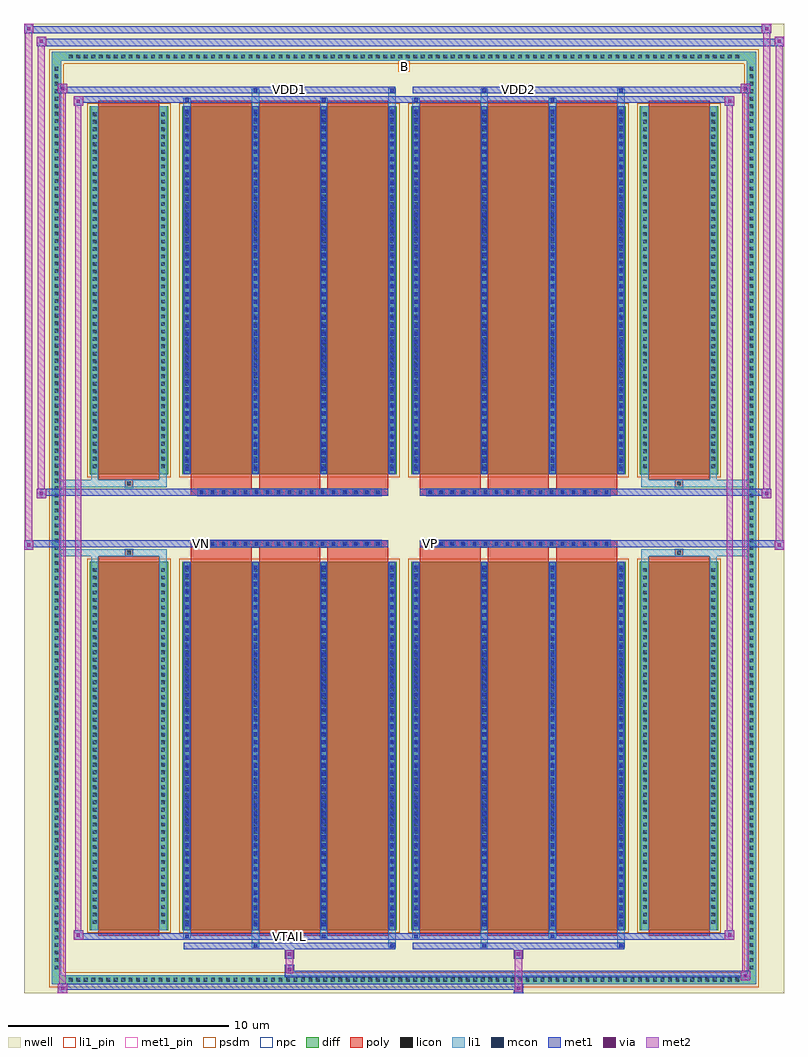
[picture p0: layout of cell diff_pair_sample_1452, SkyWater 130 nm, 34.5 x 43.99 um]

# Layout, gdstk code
import gdstk
lib = gdstk.Library(unit=1e-6, precision=5e-09)
def R(c, l, rs):  # rectangles x0, y0, x1, y1
    for r in rs: c.add(gdstk.rectangle(r[:2], r[2:], *l))
def A(c, l, x, y, w, h, nx, ny, dx, dy):  # array of equal rectangles
    R(c, l, [(x+i*dx, y+j*dy, x+i*dx+w, y+j*dy+h) for i in range(nx) for j in range(ny)])
def P(c, l, *ps):  # polygons
    for p in ps: c.add(gdstk.Polygon(p, *l))
nwell = (64, 20)
diff = (65, 20)
poly = (66, 20)
licon = (66, 44)
li1_pin = (67, 16)
li1 = (67, 20)
mcon = (67, 44)
met1_pin = (68, 16)
met1 = (68, 20)
via = (68, 44)
met2 = (69, 20)
psdm = (94, 20)
npc = (95, 20)

diff_pair_sample_1452 = lib.new_cell('diff_pair_sample_1452')
R(diff_pair_sample_1452, nwell, [(-17.25,-21.56,17.25,22.43), (-14.57,-19.75,-0.01,-0.805), (0.01,-19.75,14.57,-0.805), (-14.57,0.805,-0.01,19.75), (0.01,0.805,14.57,19.75)])
A(diff_pair_sample_1452, diff, -15.335, -21.16, 0.41, 0.41, 90, 2, 0.34, 41.91)
A(diff_pair_sample_1452, diff, -15.98, -20.605, 0.41, 0.41, 1, 121, 0, 0.34)
A(diff_pair_sample_1452, diff, 15.57, -20.605, 0.41, 0.41, 1, 121, 0, 0.34)
R(diff_pair_sample_1452, diff, [(-15.335,-21.16,15.335,-20.75), (-15.98,-20.605,-15.57,20.605), (15.57,-20.605,15.98,20.605), (-14.26,-18.705,-10.71,-1.985), (-10.07,-18.705,-0.32,-1.985), (0.32,-18.705,10.07,-1.985), (10.71,-18.705,14.26,-1.985), (-14.26,1.985,-10.71,18.705), (-10.07,1.985,-0.32,18.705), (0.32,1.985,10.07,18.705), (10.71,1.985,14.26,18.705), (-15.335,20.75,15.335,21.16)])
P(diff_pair_sample_1452, diff, [(15.98,21.16),(-15.98,21.16),(-15.98,-20.75),(-15.57,-20.75),(-15.57,20.75),(15.57,20.75),(15.57,-20.75),(-15.57,-20.75),(-15.98,-20.75),(-15.98,-21.16),(15.98,-21.16)])
A(diff_pair_sample_1452, poly, -9.68, -18.955, 2.77, 17.22, 3, 2, 3.1, 20.69)
A(diff_pair_sample_1452, poly, 0.71, -18.955, 2.77, 17.22, 3, 2, 3.1, 20.69)
A(diff_pair_sample_1452, poly, -9.68, -1.735, 2.77, 0.4, 3, 2, 3.1, 3.07)
A(diff_pair_sample_1452, poly, 0.71, -1.735, 2.77, 0.4, 3, 2, 3.1, 3.07)
A(diff_pair_sample_1452, poly, -9.36, -1.335, 0.33, 0.33, 17, 2, 0.5, 2.34)
A(diff_pair_sample_1452, poly, 1.03, -1.335, 0.33, 0.33, 17, 2, 0.5, 2.34)
R(diff_pair_sample_1452, poly, [(-13.87,-18.955,-11.1,-1.735), (11.1,-18.955,13.87,-1.735), (-12.65,-1.735,-12.32,-1.405), (-12.65,-1.735,-12.32,-1.405), (12.32,-1.735,12.65,-1.405), (12.32,-1.735,12.65,-1.405), (-9.68,-1.335,-0.71,-1.005), (0.71,-1.335,9.68,-1.005), (-9.68,1.005,-0.71,1.335), (0.71,1.005,9.68,1.335), (-12.65,1.405,-12.32,1.735), (-12.65,1.405,-12.32,1.735), (12.32,1.405,12.65,1.735), (12.32,1.405,12.65,1.735), (-13.87,1.735,-11.1,18.955), (11.1,1.735,13.87,18.955)])
A(diff_pair_sample_1452, licon, -15.215, -21.04, 0.17, 0.17, 90, 2, 0.34, 41.91)
A(diff_pair_sample_1452, licon, -15.86, -20.485, 0.17, 0.17, 1, 121, 0, 0.34)
A(diff_pair_sample_1452, licon, 15.69, -20.485, 0.17, 0.17, 1, 121, 0, 0.34)
A(diff_pair_sample_1452, licon, -14.12, -18.42, 0.17, 0.17, 1, 48, 0, 0.34)
A(diff_pair_sample_1452, licon, -11.02, -18.42, 0.17, 0.17, 1, 48, 0, 0.34)
A(diff_pair_sample_1452, licon, -9.93, -18.42, 0.17, 0.17, 4, 48, 3.1, 0.34)
A(diff_pair_sample_1452, licon, 0.46, -18.42, 0.17, 0.17, 4, 48, 3.1, 0.34)
A(diff_pair_sample_1452, licon, 10.85, -18.42, 0.17, 0.17, 1, 48, 0, 0.34)
A(diff_pair_sample_1452, licon, 13.95, -18.42, 0.17, 0.17, 1, 48, 0, 0.34)
A(diff_pair_sample_1452, licon, -9.28, -1.255, 0.17, 0.17, 17, 2, 0.5, 2.34)
A(diff_pair_sample_1452, licon, 1.11, -1.255, 0.17, 0.17, 17, 2, 0.5, 2.34)
A(diff_pair_sample_1452, licon, -14.12, 2.27, 0.17, 0.17, 1, 48, 0, 0.34)
A(diff_pair_sample_1452, licon, -11.02, 2.27, 0.17, 0.17, 1, 48, 0, 0.34)
A(diff_pair_sample_1452, licon, -9.93, 2.27, 0.17, 0.17, 4, 48, 3.1, 0.34)
A(diff_pair_sample_1452, licon, 0.46, 2.27, 0.17, 0.17, 4, 48, 3.1, 0.34)
A(diff_pair_sample_1452, licon, 10.85, 2.27, 0.17, 0.17, 1, 48, 0, 0.34)
A(diff_pair_sample_1452, licon, 13.95, 2.27, 0.17, 0.17, 1, 48, 0, 0.34)
R(diff_pair_sample_1452, licon, [(-12.57,-1.655,-12.4,-1.485), (12.4,-1.655,12.57,-1.485), (-12.57,1.485,-12.4,1.655), (12.4,1.485,12.57,1.655)])
R(diff_pair_sample_1452, li1_pin, [(-0.25,20.25,0.25,20.75)])
A(diff_pair_sample_1452, li1, -15.295, -21.12, 0.33, 0.33, 90, 2, 0.34, 41.91)
A(diff_pair_sample_1452, li1, -15.94, -20.565, 0.33, 0.33, 1, 121, 0, 0.34)
A(diff_pair_sample_1452, li1, 15.61, -20.565, 0.33, 0.33, 1, 121, 0, 0.34)
A(diff_pair_sample_1452, li1, -10.01, -18.705, 0.33, 16.72, 4, 2, 3.1, 20.69)
A(diff_pair_sample_1452, li1, 0.38, -18.705, 0.33, 16.72, 4, 2, 3.1, 20.69)
A(diff_pair_sample_1452, li1, -9.93, -18.53, 0.17, 0.17, 4, 46, 3.1, 0.36)
A(diff_pair_sample_1452, li1, -9.93, -18.53, 0.17, 16.37, 4, 2, 3.1, 20.69)
A(diff_pair_sample_1452, li1, 0.46, -18.53, 0.17, 0.17, 4, 46, 3.1, 0.36)
A(diff_pair_sample_1452, li1, 0.46, -18.53, 0.17, 16.37, 4, 2, 3.1, 20.69)
A(diff_pair_sample_1452, li1, -14.2, -18.5, 0.33, 0.33, 1, 48, 0, 0.34)
A(diff_pair_sample_1452, li1, -11.1, -18.5, 0.33, 0.33, 1, 48, 0, 0.34)
A(diff_pair_sample_1452, li1, -10.01, -18.5, 0.33, 0.33, 4, 48, 3.1, 0.34)
A(diff_pair_sample_1452, li1, 0.38, -18.5, 0.33, 0.33, 4, 48, 3.1, 0.34)
A(diff_pair_sample_1452, li1, 10.77, -18.5, 0.33, 0.33, 1, 48, 0, 0.34)
A(diff_pair_sample_1452, li1, 13.87, -18.5, 0.33, 0.33, 1, 48, 0, 0.34)
A(diff_pair_sample_1452, li1, -9.36, -1.335, 0.33, 0.33, 17, 2, 0.5, 2.34)
A(diff_pair_sample_1452, li1, 1.03, -1.335, 0.33, 0.33, 17, 2, 0.5, 2.34)
A(diff_pair_sample_1452, li1, -9.93, 2.16, 0.17, 0.17, 4, 46, 3.1, 0.36)
A(diff_pair_sample_1452, li1, 0.46, 2.16, 0.17, 0.17, 4, 46, 3.1, 0.36)
A(diff_pair_sample_1452, li1, -14.2, 2.19, 0.33, 0.33, 1, 48, 0, 0.34)
A(diff_pair_sample_1452, li1, -11.1, 2.19, 0.33, 0.33, 1, 48, 0, 0.34)
A(diff_pair_sample_1452, li1, -10.01, 2.19, 0.33, 0.33, 4, 48, 3.1, 0.34)
A(diff_pair_sample_1452, li1, 0.38, 2.19, 0.33, 0.33, 4, 48, 3.1, 0.34)
A(diff_pair_sample_1452, li1, 10.77, 2.19, 0.33, 0.33, 1, 48, 0, 0.34)
A(diff_pair_sample_1452, li1, 13.87, 2.19, 0.33, 0.33, 1, 48, 0, 0.34)
R(diff_pair_sample_1452, li1, [(-15.98,-21.16,-15.57,-20.75), (-15.98,-21.16,-15.57,-20.75), (-15.57,-21.16,15.57,-20.75), (15.57,-21.16,15.98,-20.75), (15.57,-21.16,15.98,-20.75), (-15.98,-20.75,-15.57,20.75), (15.57,-20.75,15.98,20.75), (-6.91,-19.51,-6.58,-18.705), (-6.83,-19.51,-6.66,-19.34), (-0.71,-19.51,-0.38,-18.705), (-0.63,-19.51,-0.46,-19.34), (3.48,-19.51,3.81,-18.705), (3.56,-19.51,3.73,-19.34), (9.68,-19.51,10.01,-18.705), (9.76,-19.51,9.93,-19.34), (-10.01,-19.08,-9.68,-18.705), (-9.93,-19.08,-9.76,-18.91), (-3.81,-19.08,-3.48,-18.705), (-3.73,-19.08,-3.56,-18.91), (0.38,-19.08,0.71,-18.705), (0.46,-19.08,0.63,-18.91), (6.58,-19.08,6.91,-18.705), (6.66,-19.08,6.83,-18.91), (-14.2,-18.705,-13.87,-1.985), (-11.1,-18.705,-10.77,-1.985), (10.77,-18.705,11.1,-1.985), (13.87,-18.705,14.2,-1.985), (-14.2,-1.985,-13.87,-1.405), (-11.1,-1.985,-10.77,-1.405), (10.77,-1.985,11.1,-1.405), (13.87,-1.985,14.2,-1.405), (-15.98,-1.735,-12.65,-1.405), (-14.2,-1.735,-12.65,-1.405), (-12.65,-1.735,-12.32,-1.405), (-12.32,-1.735,-10.77,-1.405), (10.77,-1.735,12.32,-1.405), (12.32,-1.735,12.65,-1.405), (12.32,-1.735,15.98,-1.405), (12.65,-1.735,14.2,-1.405), (-15.98,1.405,-12.65,1.735), (-14.2,1.405,-12.65,1.735), (-14.2,1.405,-13.87,1.985), (-12.65,1.405,-12.32,1.735), (-12.32,1.405,-10.77,1.735), (-11.1,1.405,-10.77,1.985), (10.77,1.405,12.32,1.735), (10.77,1.405,11.1,1.985), (12.32,1.405,12.65,1.735), (12.32,1.405,15.98,1.735), (12.65,1.405,14.2,1.735), (13.87,1.405,14.2,1.985), (-14.2,1.985,-13.87,18.705), (-11.1,1.985,-10.77,18.705), (10.77,1.985,11.1,18.705), (13.87,1.985,14.2,18.705), (-10.01,18.705,-9.68,19.08), (-6.91,18.705,-6.58,19.51), (-3.81,18.705,-3.48,19.08), (-0.71,18.705,-0.38,19.51), (0.38,18.705,0.71,19.08), (3.48,18.705,3.81,19.51), (6.58,18.705,6.91,19.08), (9.68,18.705,10.01,19.51), (-9.93,18.91,-9.76,19.08), (-3.73,18.91,-3.56,19.08), (0.46,18.91,0.63,19.08), (6.66,18.91,6.83,19.08), (-6.83,19.34,-6.66,19.51), (-0.63,19.34,-0.46,19.51), (3.56,19.34,3.73,19.51), (9.76,19.34,9.93,19.51), (-15.98,20.75,-15.57,21.16), (-15.98,20.75,-15.57,21.16), (-15.57,20.75,15.57,21.16), (15.57,20.75,15.98,21.16), (15.57,20.75,15.98,21.16)])
A(diff_pair_sample_1452, mcon, -9.93, -18.53, 0.17, 0.17, 4, 46, 3.1, 0.36)
A(diff_pair_sample_1452, mcon, 0.46, -18.53, 0.17, 0.17, 4, 46, 3.1, 0.36)
A(diff_pair_sample_1452, mcon, -9.28, -1.255, 0.17, 0.17, 17, 2, 0.5, 2.34)
A(diff_pair_sample_1452, mcon, 1.11, -1.255, 0.17, 0.17, 17, 2, 0.5, 2.34)
A(diff_pair_sample_1452, mcon, -9.93, 2.16, 0.17, 0.17, 4, 46, 3.1, 0.36)
A(diff_pair_sample_1452, mcon, 0.46, 2.16, 0.17, 0.17, 4, 46, 3.1, 0.36)
R(diff_pair_sample_1452, mcon, [(-6.83,-19.51,-6.66,-19.34), (-0.63,-19.51,-0.46,-19.34), (3.56,-19.51,3.73,-19.34), (9.76,-19.51,9.93,-19.34), (-9.93,-19.08,-9.76,-18.91), (-3.73,-19.08,-3.56,-18.91), (0.46,-19.08,0.63,-18.91), (6.66,-19.08,6.83,-18.91), (-9.93,18.91,-9.76,19.08), (-3.73,18.91,-3.56,19.08), (0.46,18.91,0.63,19.08), (6.66,18.91,6.83,19.08), (-6.83,19.34,-6.66,19.51), (-0.63,19.34,-0.46,19.51), (3.56,19.34,3.73,19.51), (9.76,19.34,9.93,19.51)])
R(diff_pair_sample_1452, met1_pin, [(-5.33,-19.12,-5.06,-18.85), (-9.33,-1.295,-9.06,-1.025), (1.06,-1.295,1.33,-1.025), (-5.33,19.3,-5.06,19.57), (5.06,19.3,5.33,19.57)])
A(diff_pair_sample_1452, met1, -9.99, -18.705, 0.29, 16.72, 4, 2, 3.1, 20.69)
A(diff_pair_sample_1452, met1, 0.4, -18.705, 0.29, 16.72, 4, 2, 3.1, 20.69)
A(diff_pair_sample_1452, met1, -9.99, -18.59, 0.29, 0.29, 4, 46, 3.1, 0.36)
A(diff_pair_sample_1452, met1, 0.4, -18.59, 0.29, 0.29, 4, 46, 3.1, 0.36)
A(diff_pair_sample_1452, met1, -9.34, -1.315, 0.29, 0.29, 17, 2, 0.5, 2.34)
A(diff_pair_sample_1452, met1, 1.05, -1.315, 0.29, 0.29, 17, 2, 0.5, 2.34)
A(diff_pair_sample_1452, met1, -9.99, 2.1, 0.29, 0.29, 4, 46, 3.1, 0.36)
A(diff_pair_sample_1452, met1, 0.4, 2.1, 0.29, 0.29, 4, 46, 3.1, 0.36)
R(diff_pair_sample_1452, met1, [(-15.71,-21.56,-15.28,-21.13), (4.98,-21.56,5.41,-21.13), (-15.71,-21.42,5.41,-21.13), (15.28,-20.99,15.71,-20.56), (-5.41,-20.85,15.71,-20.56), (-5.41,-20.71,-4.98,-20.28), (-5.41,-20,-4.98,-19.57), (4.98,-20,5.41,-19.57), (-9.99,-19.57,-0.4,-19.28), (-6.89,-19.57,-6.6,-19.28), (-0.69,-19.57,-0.4,-19.28), (0.4,-19.57,9.99,-19.28), (3.5,-19.57,3.79,-19.28), (9.7,-19.57,9.99,-19.28), (-15,-19.14,-14.57,-18.71), (-15,-19.14,-9.99,-18.85), (-9.99,-19.14,-9.7,-18.85), (-9.99,-19.14,-0.4,-18.85), (-3.79,-19.14,-3.5,-18.85), (-0.4,-19.14,0.4,-18.85), (0.4,-19.14,0.69,-18.85), (0.4,-19.14,9.99,-18.85), (6.6,-19.14,6.89,-18.85), (9.99,-19.14,15,-18.85), (14.57,-19.14,15,-18.71), (-17.25,-1.435,-16.82,-1.005), (16.82,-1.435,17.25,-1.005), (-17.25,-1.335,-0.71,-1.005), (-9.68,-1.335,-0.71,-1.005), (0.71,-1.335,9.68,-1.005), (0.71,-1.335,17.25,-1.005), (-16.68,0.905,-16.25,1.335), (16.25,0.905,16.68,1.335), (-16.68,1.005,-9.68,1.335), (-9.68,1.005,-0.71,1.335), (0.71,1.005,9.68,1.335), (9.68,1.005,16.68,1.335), (-15,18.71,-14.57,19.14), (14.57,18.71,15,19.14), (-15,18.85,-9.99,19.14), (-9.99,18.85,-9.7,19.14), (-9.99,18.85,-0.4,19.14), (-3.79,18.85,-3.5,19.14), (-0.4,18.85,0.4,19.14), (0.4,18.85,0.69,19.14), (0.4,18.85,9.99,19.14), (6.6,18.85,6.89,19.14), (9.99,18.85,15,19.14), (-15.71,19.28,-15.28,19.71), (-15.71,19.28,-9.99,19.57), (-9.99,19.28,-0.4,19.57), (-6.89,19.28,-6.6,19.57), (-0.69,19.28,-0.4,19.57), (0.4,19.28,9.99,19.57), (3.5,19.28,3.79,19.57), (9.7,19.28,9.99,19.57), (9.99,19.28,15.71,19.57), (15.28,19.28,15.71,19.71), (-16.68,21.43,-16.25,21.86), (-16.68,21.43,-14.57,21.76), (-14.57,21.43,14.57,21.76), (14.57,21.43,17.25,21.76), (16.82,21.43,17.25,21.86), (-17.25,22,-16.82,22.43), (-17.25,22,-14.57,22.33), (-14.57,22,14.57,22.33), (14.57,22,16.68,22.33), (16.25,22,16.68,22.43)])
R(diff_pair_sample_1452, via, [(-15.57,-21.42,-15.42,-21.27), (5.12,-21.42,5.27,-21.27), (15.42,-20.85,15.57,-20.7), (-5.27,-20.57,-5.12,-20.42), (-5.27,-19.86,-5.12,-19.71), (5.12,-19.86,5.27,-19.71), (-14.86,-19,-14.71,-18.85), (14.71,-19,14.86,-18.85), (-17.11,-1.295,-16.96,-1.145), (16.96,-1.295,17.11,-1.145), (-16.54,1.045,-16.39,1.195), (16.39,1.045,16.54,1.195), (-14.86,18.85,-14.71,19), (14.71,18.85,14.86,19), (-15.57,19.42,-15.42,19.57), (15.42,19.42,15.57,19.57), (-16.54,21.57,-16.39,21.72), (16.96,21.57,17.11,21.72), (-17.11,22.14,-16.96,22.29), (16.39,22.14,16.54,22.29)])
R(diff_pair_sample_1452, met2, [(-15.71,-21.56,-15.28,-21.13), (-15.64,-21.56,-15.35,19.71), (-15.35,-21.56,-15.28,-21.13), (-15.66,-21.51,-15.33,-21.18), (5.03,-21.51,5.36,-21.18), (5.03,-21.18,5.36,-19.95), (15.28,-20.99,15.71,-20.56), (15.35,-20.99,15.64,19.71), (15.64,-20.99,15.71,-20.56), (15.33,-20.94,15.66,-20.61), (-5.36,-20.66,-5.03,-20.33), (-5.36,-20.33,-5.03,-19.95), (-5.36,-19.95,-5.03,-19.62), (5.03,-19.95,5.36,-19.62), (-15,-19.14,-14.57,-18.71), (-14.93,-19.14,-14.64,19.14), (-14.64,-19.14,-14.57,-18.71), (14.57,-19.14,15,-18.71), (14.64,-19.14,14.93,19.14), (14.93,-19.14,15,-18.71), (-14.95,-19.09,-14.62,-18.76), (14.62,-19.09,14.95,-18.76), (-17.25,-1.435,-16.82,-1.005), (-17.2,-1.435,-16.87,22.43), (-16.87,-1.435,-16.82,-1.005), (16.82,-1.435,17.25,-1.005), (16.87,-1.435,17.2,21.86), (17.2,-1.435,17.25,-1.005), (-17.2,-1.385,-16.87,-1.055), (16.87,-1.385,17.2,-1.055), (-16.68,0.905,-16.25,1.335), (-16.63,0.905,-16.3,21.86), (-16.3,0.905,-16.25,1.335), (16.25,0.905,16.68,1.335), (16.3,0.905,16.63,22.43), (16.63,0.905,16.68,1.335), (-16.63,0.955,-16.3,1.285), (16.3,0.955,16.63,1.285), (-15,18.71,-14.57,19.14), (-14.64,18.71,-14.57,19.14), (14.57,18.71,15,19.14), (14.93,18.71,15,19.14), (-14.95,18.76,-14.62,19.09), (14.62,18.76,14.95,19.09), (-15.71,19.28,-15.28,19.71), (-15.35,19.28,-15.28,19.71), (15.28,19.28,15.71,19.71), (15.64,19.28,15.71,19.71), (-15.66,19.33,-15.33,19.66), (15.33,19.33,15.66,19.66), (-16.68,21.43,-16.25,21.86), (-16.3,21.43,-16.25,21.86), (16.82,21.43,17.25,21.86), (17.2,21.43,17.25,21.86), (-16.63,21.48,-16.3,21.81), (16.87,21.48,17.2,21.81), (-17.25,22,-16.82,22.43), (-16.87,22,-16.82,22.43), (16.25,22,16.68,22.43), (16.63,22,16.68,22.43), (-17.2,22.05,-16.87,22.38), (16.3,22.05,16.63,22.38)])
R(diff_pair_sample_1452, psdm, [(-14.39,-18.835,-10.58,-1.855), (-10.2,-18.835,-0.19,-1.855), (0.19,-18.835,10.2,-1.855), (10.58,-18.835,14.39,-1.855), (-14.39,1.855,-10.58,18.835), (-10.2,1.855,-0.19,18.835), (0.19,1.855,10.2,18.835), (10.58,1.855,14.39,18.835)])
P(diff_pair_sample_1452, psdm, [(16.11,21.29),(-16.11,21.29),(-16.11,-20.62),(-15.44,-20.62),(-15.44,20.62),(15.44,20.62),(15.44,-20.62),(-15.44,-20.62),(-16.11,-20.62),(-16.11,-21.29),(16.11,-21.29)])
A(diff_pair_sample_1452, npc, -9.38, -1.355, 0.37, 0.37, 17, 2, 0.5, 2.34)
A(diff_pair_sample_1452, npc, 1.01, -1.355, 0.37, 0.37, 17, 2, 0.5, 2.34)
R(diff_pair_sample_1452, npc, [(-12.67,-1.755,-12.3,-1.385), (12.3,-1.755,12.67,-1.385), (-9.38,-1.355,-8.51,-0.985), (-9.38,-1.355,-8.51,-0.985), (-8.88,-1.355,-8.01,-0.985), (-8.88,-1.355,-8.01,-0.985), (-8.38,-1.355,-7.51,-0.985), (-8.38,-1.355,-7.51,-0.985), (-7.88,-1.355,-7.01,-0.985), (-7.88,-1.355,-7.01,-0.985), (-7.38,-1.355,-6.51,-0.985), (-7.38,-1.355,-6.51,-0.985), (-6.88,-1.355,-6.01,-0.985), (-6.88,-1.355,-6.01,-0.985), (-6.38,-1.355,-5.51,-0.985), (-6.38,-1.355,-5.51,-0.985), (-5.88,-1.355,-5.01,-0.985), (-5.88,-1.355,-5.01,-0.985), (-5.38,-1.355,-4.51,-0.985), (-5.38,-1.355,-4.51,-0.985), (-4.88,-1.355,-4.01,-0.985), (-4.88,-1.355,-4.01,-0.985), (-4.38,-1.355,-3.51,-0.985), (-4.38,-1.355,-3.51,-0.985), (-3.88,-1.355,-3.01,-0.985), (-3.88,-1.355,-3.01,-0.985), (-3.38,-1.355,-2.51,-0.985), (-3.38,-1.355,-2.51,-0.985), (-2.88,-1.355,-2.01,-0.985), (-2.88,-1.355,-2.01,-0.985), (-2.38,-1.355,-1.51,-0.985), (-2.38,-1.355,-1.51,-0.985), (-1.88,-1.355,-1.01,-0.985), (-1.88,-1.355,-1.01,-0.985), (1.01,-1.355,1.88,-0.985), (1.01,-1.355,1.88,-0.985), (1.51,-1.355,2.38,-0.985), (1.51,-1.355,2.38,-0.985), (2.01,-1.355,2.88,-0.985), (2.01,-1.355,2.88,-0.985), (2.51,-1.355,3.38,-0.985), (2.51,-1.355,3.38,-0.985), (3.01,-1.355,3.88,-0.985), (3.01,-1.355,3.88,-0.985), (3.51,-1.355,4.38,-0.985), (3.51,-1.355,4.38,-0.985), (4.01,-1.355,4.88,-0.985), (4.01,-1.355,4.88,-0.985), (4.51,-1.355,5.38,-0.985), (4.51,-1.355,5.38,-0.985), (5.01,-1.355,5.88,-0.985), (5.01,-1.355,5.88,-0.985), (5.51,-1.355,6.38,-0.985), (5.51,-1.355,6.38,-0.985), (6.01,-1.355,6.88,-0.985), (6.01,-1.355,6.88,-0.985), (6.51,-1.355,7.38,-0.985), (6.51,-1.355,7.38,-0.985), (7.01,-1.355,7.88,-0.985), (7.01,-1.355,7.88,-0.985), (7.51,-1.355,8.38,-0.985), (7.51,-1.355,8.38,-0.985), (8.01,-1.355,8.88,-0.985), (8.01,-1.355,8.88,-0.985), (8.51,-1.355,9.38,-0.985), (8.51,-1.355,9.38,-0.985), (-9.38,0.985,-8.51,1.355), (-9.38,0.985,-8.51,1.355), (-8.88,0.985,-8.01,1.355), (-8.88,0.985,-8.01,1.355), (-8.38,0.985,-7.51,1.355), (-8.38,0.985,-7.51,1.355), (-7.88,0.985,-7.01,1.355), (-7.88,0.985,-7.01,1.355), (-7.38,0.985,-6.51,1.355), (-7.38,0.985,-6.51,1.355), (-6.88,0.985,-6.01,1.355), (-6.88,0.985,-6.01,1.355), (-6.38,0.985,-5.51,1.355), (-6.38,0.985,-5.51,1.355), (-5.88,0.985,-5.01,1.355), (-5.88,0.985,-5.01,1.355), (-5.38,0.985,-4.51,1.355), (-5.38,0.985,-4.51,1.355), (-4.88,0.985,-4.01,1.355), (-4.88,0.985,-4.01,1.355), (-4.38,0.985,-3.51,1.355), (-4.38,0.985,-3.51,1.355), (-3.88,0.985,-3.01,1.355), (-3.88,0.985,-3.01,1.355), (-3.38,0.985,-2.51,1.355), (-3.38,0.985,-2.51,1.355), (-2.88,0.985,-2.01,1.355), (-2.88,0.985,-2.01,1.355), (-2.38,0.985,-1.51,1.355), (-2.38,0.985,-1.51,1.355), (-1.88,0.985,-1.01,1.355), (-1.88,0.985,-1.01,1.355), (1.01,0.985,1.88,1.355), (1.01,0.985,1.88,1.355), (1.51,0.985,2.38,1.355), (1.51,0.985,2.38,1.355), (2.01,0.985,2.88,1.355), (2.01,0.985,2.88,1.355), (2.51,0.985,3.38,1.355), (2.51,0.985,3.38,1.355), (3.01,0.985,3.88,1.355), (3.01,0.985,3.88,1.355), (3.51,0.985,4.38,1.355), (3.51,0.985,4.38,1.355), (4.01,0.985,4.88,1.355), (4.01,0.985,4.88,1.355), (4.51,0.985,5.38,1.355), (4.51,0.985,5.38,1.355), (5.01,0.985,5.88,1.355), (5.01,0.985,5.88,1.355), (5.51,0.985,6.38,1.355), (5.51,0.985,6.38,1.355), (6.01,0.985,6.88,1.355), (6.01,0.985,6.88,1.355), (6.51,0.985,7.38,1.355), (6.51,0.985,7.38,1.355), (7.01,0.985,7.88,1.355), (7.01,0.985,7.88,1.355), (7.51,0.985,8.38,1.355), (7.51,0.985,8.38,1.355), (8.01,0.985,8.88,1.355), (8.01,0.985,8.88,1.355), (8.51,0.985,9.38,1.355), (8.51,0.985,9.38,1.355), (-12.67,1.385,-12.3,1.755), (12.3,1.385,12.67,1.755)])
diff_pair_sample_1452.add(gdstk.Label('VTAIL', (-5.195,-18.985), layer=68, texttype=5))
diff_pair_sample_1452.add(gdstk.Label('VN', (-9.195,-1.16), layer=68, texttype=5))
diff_pair_sample_1452.add(gdstk.Label('VP', (1.195,-1.16), layer=68, texttype=5))
diff_pair_sample_1452.add(gdstk.Label('B', (0,20.5), layer=67, texttype=5))
diff_pair_sample_1452.add(gdstk.Label('VDD2', (5.195,19.435), layer=68, texttype=5))
diff_pair_sample_1452.add(gdstk.Label('VDD1', (-5.195,19.435), layer=68, texttype=5))

lib.write_gds('diff_pair_sample_1452.gds')
